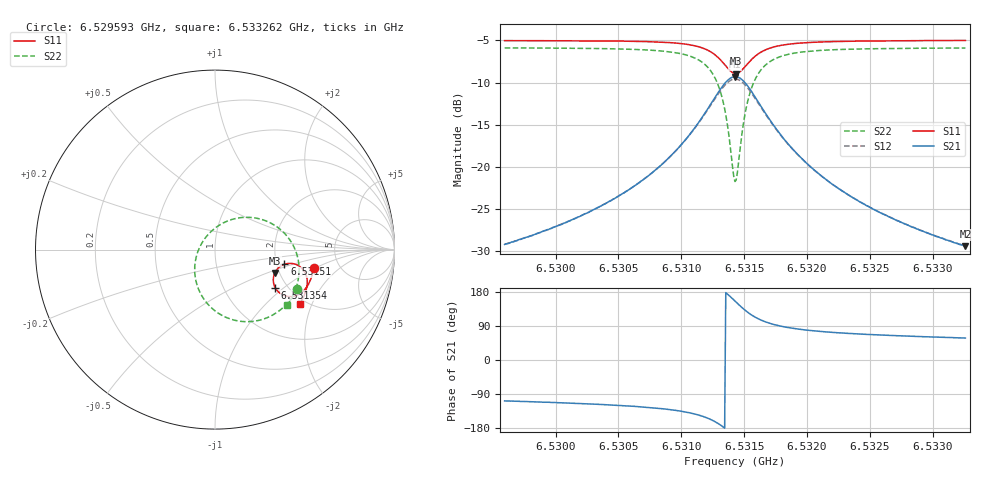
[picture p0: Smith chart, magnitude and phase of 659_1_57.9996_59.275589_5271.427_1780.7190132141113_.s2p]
#  HZ  S  RI  R  50.00
! Rohde & Schwarz Vector Network Analyzer
! Rohde-Schwarz,ZNB20-2Port,1311601062101988,3.16
! Created: UTC 3/21/2024, 1:19:52 AM
! freq[Hz]  re:S11  im:S11  re:S21  im:S21  re:S12  im:S12  re:S22  im:S22
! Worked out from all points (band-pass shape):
!   401 points, 6.529593 GHz to 6.533262 GHz, reference 50 ohm
!   highest |S21| = -9.30 dB at 6.531428 GHz (marker M1); lowest = -29.4 dB at 6.533262 GHz (marker M2)
!   |S21| within 3 dB of the highest: 6.531245 GHz to 6.531612 GHz (367 kHz wide, 0.00562 % of centre)
!   lowest |S11| = -8.9 dB at 6.531437 GHz (marker M3), VSWR 2.11, Z = 94.5 - j28.2 ohm
!   |S11| at or under -10 dB: nowhere
!   |S22| runs from -21.7 to -5.9 dB; largest |S21 - S12| = 0.014
!   S11 on the Smith chart (normalised r, x): 6.529593 GHz: 3.25, -0.95; 6.531354 GHz: 1.73, -0.87; 6.53151 GHz: 2.20, -0.43; 6.533262 GHz: 1.84, -1.64
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6.5295934e9  0.5514 -0.1003  -0.0106 -0.033  -0.0115 -0.0329  0.4584 -0.2176
6.5302078e9  0.538 -0.1525  -0.0219 -0.0467  -0.023 -0.0462  0.4222 -0.276
6.5305472e9  0.5246 -0.1853  -0.0359 -0.0605  -0.0374 -0.0596  0.3854 -0.3174
6.5308223e9  0.5053 -0.2167  -0.061 -0.079  -0.0634 -0.0772  0.3293 -0.3599
6.5310332e9  0.475 -0.2451  -0.1063 -0.0984  -0.1092 -0.0944  0.2391 -0.3953
6.5311983e9  0.422 -0.2621  -0.1887 -0.1004  -0.1905 -0.0922  0.0896 -0.3881
6.53129e9  0.3714 -0.2493  -0.2664 -0.0619  -0.2635 -0.0506  -0.0364 -0.3077
6.5313267e9  0.3495 -0.2317  -0.2985 -0.0254  -0.2923 -0.0138  -0.0829 -0.2402
6.5313542e9  0.3355 -0.2119  -0.3174 0.0127  -0.3082 0.0231  -0.1064 -0.1735
6.5314093e9  0.3254 -0.1583  -0.3231 0.1089  -0.3098 0.1141  -0.097 -0.0148
6.5314276e9  0.3296 -0.1393  -0.3122 0.1418  -0.2986 0.1446  -0.0731 0.0368
6.5314368e9  0.3333 -0.1302  -0.3042 0.1574  -0.2908 0.159  -0.0575 0.0606
6.5314551e9  0.3432 -0.1134  -0.2842 0.1857  -0.2716 0.185  -0.0197 0.1028
6.5314735e9  0.3561 -0.0996  -0.2599 0.2089  -0.2484 0.2064  0.0241 0.1362
6.5315101e9  0.3864 -0.0818  -0.2047 0.2377  -0.1964 0.2333  0.1192 0.1742
6.5315743e9  0.437 -0.0786  -0.1168 0.2424  -0.1128 0.238  0.2662 0.1662
6.531666e9  0.4818 -0.1023  -0.0408 0.206  -0.0391 0.2038  0.3888 0.089
6.5318036e9  0.5076 -0.142  0.00383 0.1508  0.00513 0.1499  0.4541 -0.0206
6.5320421e9  0.5137 -0.1893  0.0214 0.0958  0.0225 0.0954  0.4683 -0.1325
6.5323264e9  0.5073 -0.2264  0.023 0.0644  0.0241 0.0641  0.4553 -0.2025
6.5326565e9  0.4958 -0.2583  0.0214 0.0456  0.0222 0.0454  0.4359 -0.2518
6.5332618e9  0.4715 -0.3054  0.018 0.0287  0.0186 0.0285  0.4013 -0.3093
